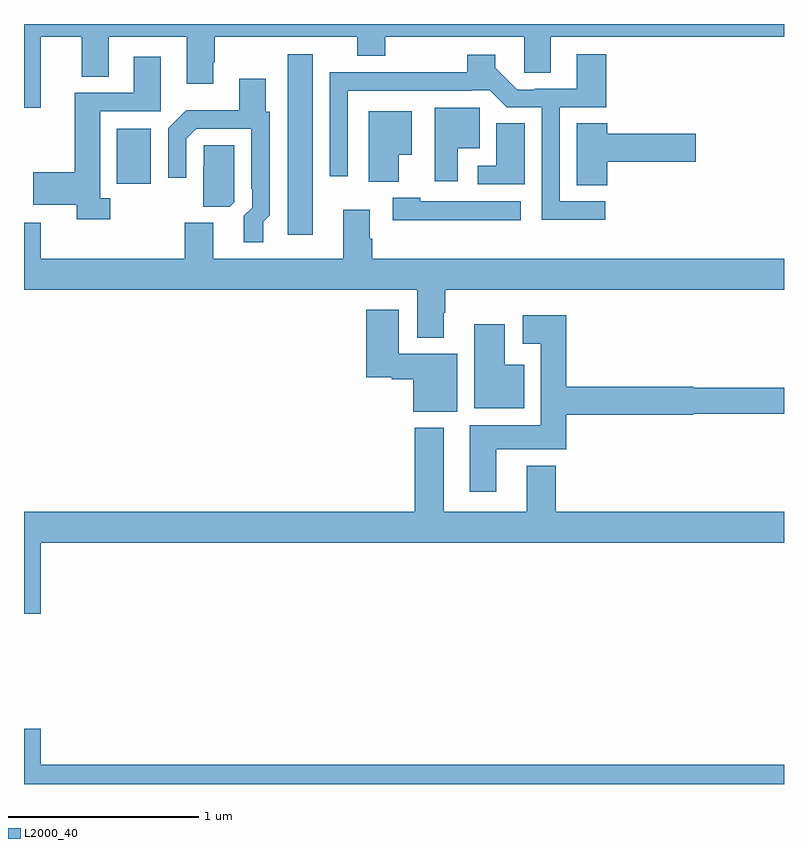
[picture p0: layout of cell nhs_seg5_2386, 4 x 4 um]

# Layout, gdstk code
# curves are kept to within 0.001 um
import gdstk
lib = gdstk.Library(unit=1e-6, precision=1e-09)
def R(c, l, rs):  # rectangles x0, y0, x1, y1
    for r in rs: c.add(gdstk.rectangle(r[:2], r[2:], *l))
def P(c, l, *ps):  # polygons
    for p in ps: c.add(gdstk.Polygon(p, *l))
L2000_40 = (2000, 40)

nhs_seg5_2386 = lib.new_cell('nhs_seg5_2386')
R(nhs_seg5_2386, L2000_40, [(250.388,883.689,250.519,884.641), (249.488,883.958,249.667,884.248)])
P(nhs_seg5_2386, L2000_40, [(249.088,884.732),(249.305,884.732),(249.305,884.521),(249.445,884.521),(249.445,884.732),(249.857,884.732),(249.857,884.484),(249.997,884.484),(249.997,884.599),(250.005,884.599),(250.005,884.732),(250.754,884.732),(250.754,884.633),(250.902,884.633),(250.902,884.732),(251.634,884.732),(251.634,884.542),(251.773,884.542),(251.773,884.732),(253,884.732),(253,884.799),(249,884.799),(249,884.358),(249.088,884.358)],
  [(252.058,883.866),(251.82,883.866),(251.82,884.361),(252.065,884.361),(252.065,884.641),(251.909,884.641),(251.909,884.457),(251.689,884.457),(251.689,884.454),(251.595,884.454),(251.479,884.57),(251.479,884.638),(251.332,884.638),(251.332,884.546),(250.99,884.546),(250.99,884.544),(250.608,884.544),(250.608,883.998),(250.704,883.998),(250.705,884.448),(251.354,884.448),(251.354,884.451),(251.45,884.451),(251.54,884.361),(251.724,884.361),(251.724,883.769),(252.058,883.769)],
  [(249.454,883.882),(249.4,883.882),(249.4,884.34),(249.721,884.34),(249.721,884.626),(249.578,884.626),(249.578,884.436),(249.266,884.436),(249.266,884.018),(249.048,884.018),(249.048,883.847),(249.278,883.847),(249.278,883.772),(249.454,883.772)],
  [(250.258,883.758),(250.293,883.793),(250.293,884.337),(250.273,884.337),(250.273,884.512),(250.133,884.512),(250.133,884.344),(249.853,884.344),(249.759,884.25),(249.759,883.989),(249.855,883.989),(249.855,884.196),(249.906,884.247),(250.197,884.247),(250.197,883.933),(250.2,883.933),(250.2,883.833),(250.157,883.79),(250.157,883.65),(250.258,883.65)],
  [(251.284,884.144),(251.398,884.144),(251.398,884.359),(251.162,884.359),(251.162,883.971),(251.284,883.971)],
  [(250.972,884.111),(251.041,884.111),(251.041,884.341),(250.814,884.341),(250.814,883.97),(250.972,883.97)],
  [(251.635,884.276),(251.486,884.276),(251.486,884.052),(251.388,884.052),(251.388,883.956),(251.635,883.956)],
  [(252.07,884.075),(252.535,884.075),(252.535,884.222),(252.07,884.222),(252.07,884.276),(251.909,884.276),(251.909,883.951),(252.07,883.951)],
  [(250.107,883.86),(250.107,884.162),(249.945,884.162),(249.945,884.051),(249.944,884.051),(249.944,883.837),(250.083,883.837)],
  [(251.614,883.867),(251.085,883.867),(251.085,883.885),(250.941,883.885),(250.941,883.766),(251.614,883.766)],
  [(251.209,883.28),(251.217,883.28),(251.217,883.4),(253,883.4),(253,883.564),(250.832,883.564),(250.832,883.67),(250.819,883.67),(250.819,883.822),(250.679,883.822),(250.679,883.564),(249.997,883.564),(249.997,883.752),(249.845,883.752),(249.845,883.564),(249.088,883.564),(249.088,883.753),(249,883.753),(249,883.4),(251.069,883.4),(251.069,883.148),(251.209,883.148)],
  [(251.281,883.063),(250.972,883.063),(250.972,883.294),(250.802,883.294),(250.802,882.941),(250.935,882.941),(250.935,882.929),(251.048,882.929),(251.048,882.758),(251.281,882.758)],
  [(251.485,882.56),(251.855,882.56),(251.855,882.743),(252.522,882.743),(252.522,882.748),(253,882.748),(253,882.884),(252.522,882.884),(252.522,882.89),(251.855,882.89),(251.855,883.267),(251.625,883.267),(251.625,883.115),(251.72,883.115),(251.72,882.688),(251.345,882.688),(251.345,882.336),(251.485,882.336)],
  [(251.632,883.006),(251.53,883.006),(251.53,883.219),(251.369,883.219),(251.369,882.776),(251.632,882.776)],
  [(249.088,882.068),(253,882.068),(253,882.232),(251.798,882.232),(251.798,882.475),(251.645,882.475),(251.645,882.232),(251.209,882.232),(251.209,882.673),(251.057,882.673),(251.057,882.232),(249,882.232),(249,881.694),(249.088,881.694)],
  [(253,880.9),(249.088,880.9),(249.088,881.089),(249,881.089),(249,880.799),(253,880.799)])

lib.write_gds('nhs_seg5_2386.gds')
